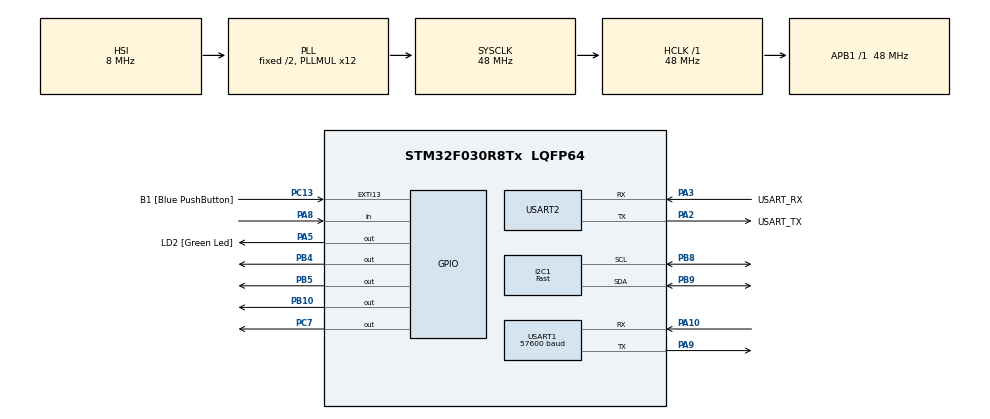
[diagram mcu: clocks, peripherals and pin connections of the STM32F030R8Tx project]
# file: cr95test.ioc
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Mcu.Family=STM32F0
PA2.GPIO_PuPd=GPIO_NOPULL
I2C1.I2C_Speed_Mode=I2C_Fast
USART1.BaudRate=57600
PA14.GPIO_Label=TCK
PA3.GPIO_PuPd=GPIO_NOPULL
PA2.GPIO_Speed=GPIO_SPEED_FREQ_LOW
PC13.GPIO_Label=B1 [Blue PushButton]
PA3.GPIO_Speed=GPIO_SPEED_FREQ_LOW
Dma.USART2_RX.1.MemDataAlignment=DMA_MDATAALIGN_BYTE
RCC.SYSCLKSource=RCC_SYSCLKSOURCE_PLLCLK
ProjectManager.StackSize=0x400
USART1.StopBits=STOPBITS_2
RCC.HCLKFreq_Value=48000000
PC7.Signal=GPIO_Output
PB5.PinState=GPIO_PIN_RESET
Dma.USART2_RX.1.PeriphInc=DMA_PINC_DISABLE
Dma.USART2_RX.1.MemInc=DMA_MINC_ENABLE
RCC.AHBFreq_Value=48000000
Dma.USART1_RX.0.Priority=DMA_PRIORITY_LOW
USART2.VirtualMode-Asynchronous=VM_ASYNC
RCC.PLLMUL=RCC_PLL_MUL12
PC14-OSC32_IN.Mode=LSE-External-Oscillator
PA14.Mode=Serial_Wire
PA5.GPIO_PuPd=GPIO_NOPULL
PA8.Signal=GPIO_Input
Dma.USART1_RX.0.MemInc=DMA_MINC_ENABLE
Mcu.Package=LQFP64
PB9.Signal=I2C1_SDA
PA2.GPIO_Label=USART_TX
PA10.Signal=USART1_RX
Dma.Request1=USART2_RX
RCC.APB1TimFreq_Value=48000000
Dma.USART1_RX.0.Mode=DMA_CIRCULAR
Dma.USART2_RX.1.Mode=DMA_CIRCULAR
Dma.Request0=USART1_RX
Dma.USART1_RX.0.Instance=DMA1_Channel3
PF1-OSC_OUT.Signal=RCC_OSC_OUT
PB4.Signal=GPIO_Output
PA3.Signal=USART2_RX
PA2.GPIO_Mode=GPIO_MODE_AF_PP
PC15-OSC32_OUT.Mode=LSE-External-Oscillator
Dma.USART2_RX.1.Priority=DMA_PRIORITY_LOW
Dma.USART1_RX.0.PeriphDataAlignment=DMA_PDATAALIGN_BYTE
PA10.Mode=Asynchronous
PC13.Signal=GPXTI13
PC14-OSC32_IN.Signal=RCC_OSC32_IN
USART1.VirtualMode-Asynchronous=VM_ASYNC
PA13.Signal=SYS_SWDIO
PA3.Mode=Asynchronous
PA9.Mode=Asynchronous
ProjectManager.TargetToolchain=STM32CubeIDE
PA3.GPIO_Mode=GPIO_MODE_AF_PP
Dma.USART1_RX.0.Direction=DMA_PERIPH_TO_MEMORY
PB9.Mode=I2C
PA9.Signal=USART1_TX
I2C1.Timing=0x0000020B
PC15-OSC32_OUT.Signal=RCC_OSC32_OUT
Dma.USART1_RX.0.PeriphInc=DMA_PINC_DISABLE
Dma.USART2_RX.1.Instance=DMA1_Channel5
PF0-OSC_IN.Mode=HSE-External-Clock-Source
PB10.Signal=GPIO_Output
Dma.USART2_RX.1.Direction=DMA_PERIPH_TO_MEMORY
PA5.Signal=GPIO_Output
Dma.USART2_RX.1.PeriphDataAlignment=DMA_PDATAALIGN_BYTE
board=NUCLEO-F030R8
NVIC.DMA1_Channel4_5_IRQn=true\:0\:0\:false\:false\:true\:false\:true
Dma.USART1_RX.0.MemDataAlignment=DMA_MDATAALIGN_BYTE
PA13.Mode=Serial_Wire
Mcu.Name=STM32F030R8Tx
PA13.GPIO_Label=TMS
PA2.Signal=USART2_TX
RCC.SYSCLKFreq_VALUE=48000000
PB5.Signal=GPIO_Output
PA5.GPIO_Label=LD2 [Green Led]
PC13.GPIO_ModeDefaultEXTI=GPIO_MODE_IT_FALLING
PA14.Signal=SYS_SWCLK
ProjectManager.HeapSize=0x200
PA8.GPIO_PuPd=GPIO_PULLUP
PA5.GPIO_Speed=GPIO_SPEED_FREQ_LOW
PB8.Mode=I2C
NVIC.DMA1_Channel2_3_IRQn=true\:0\:0\:false\:false\:true\:false\:true
PA2.Mode=Asynchronous
PB8.Signal=I2C1_SCL
PF0-OSC_IN.Signal=RCC_OSC_IN
RCC.APB1Freq_Value=48000000
PA5.GPIO_Mode=GPIO_MODE_OUTPUT_PP
PA3.GPIO_Label=USART_RX

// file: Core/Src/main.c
/* USER CODE BEGIN Header */
/**
  ******************************************************************************
  * @file           : main.c
  * @brief          : Main program body
  ******************************************************************************
  * @attention
  *
  * <h2><center>&copy; Copyright (c) 2020 STMicroelectronics.
  * All rights reserved.</center></h2>
  *
  * This software component is licensed by ST under BSD 3-Clause license,
  * the "License"; You may not use this file except in compliance with the
  * License. You may obtain a copy of the License at:
  *                        opensource.org/licenses/BSD-3-Clause
  *
  ******************************************************************************
  */
/* USER CODE END Header */
#include "main.h"

/* USER CODE BEGIN Includes */
#include <stdlib.h>
#include <stdio.h>
#include <stdbool.h>
#include <string.h>
#include "cr95hf.h"
#include "ssd1306.h"
#include "fonts.h"

/* USER CODE END Includes */

I2C_HandleTypeDef hi2c1;

UART_HandleTypeDef huart1;
UART_HandleTypeDef huart2;
DMA_HandleTypeDef hdma_usart1_rx;
DMA_HandleTypeDef hdma_usart2_rx;

void SystemClock_Config(void);
static void MX_GPIO_Init(void);
static void MX_DMA_Init(void);
static void MX_USART2_UART_Init(void);
static void MX_USART1_UART_Init(void);
static void MX_I2C1_Init(void);

/* USER CODE BEGIN 0 */

void nfc_init(void)
{
	MX_USART1_UART_Init();
}

/* USER CODE END 0 */

int main(void)
{

  /* MCU Configuration--------------------------------------------------------*/

  /* Reset of all peripherals, Initializes the Flash interface and the Systick. */
  HAL_Init();

  /* Configure the system clock */
  SystemClock_Config();

  /* Initialize all configured peripherals */
  MX_GPIO_Init();
  MX_DMA_Init();
  MX_USART2_UART_Init();
  MX_USART1_UART_Init();
  MX_I2C1_Init();
  /* USER CODE BEGIN 2 */
  SSD1306_Init ();
  HAL_UART_DeInit(&huart1);
  uart_init();

  /* USER CODE END 2 */

  /* Infinite loop */
  /* USER CODE BEGIN WHILE */
  while (1)
  {
	  manual_operation();
	  if (HAL_GPIO_ReadPin(GPIOA, GPIO_PIN_8) == 0)
	  {
		  HAL_Delay(50);
		  if (HAL_GPIO_ReadPin(GPIOA, GPIO_PIN_8) == 0)
			  automatic_operation();
	  }

    /* USER CODE END WHILE */

  }
}

void SystemClock_Config(void)
{
  RCC_OscInitTypeDef RCC_OscInitStruct = {0};
  RCC_ClkInitTypeDef RCC_ClkInitStruct = {0};
  RCC_PeriphCLKInitTypeDef PeriphClkInit = {0};

  /** Initializes the RCC Oscillators according to the specified parameters
  * in the RCC_OscInitTypeDef structure.
  */
  RCC_OscInitStruct.OscillatorType = RCC_OSCILLATORTYPE_HSI;
  RCC_OscInitStruct.HSIState = RCC_HSI_ON;
  RCC_OscInitStruct.HSICalibrationValue = RCC_HSICALIBRATION_DEFAULT;
  RCC_OscInitStruct.PLL.PLLState = RCC_PLL_ON;
  RCC_OscInitStruct.PLL.PLLSource = RCC_PLLSOURCE_HSI;
  RCC_OscInitStruct.PLL.PLLMUL = RCC_PLL_MUL12;
  RCC_OscInitStruct.PLL.PREDIV = RCC_PREDIV_DIV1;
  if (HAL_RCC_OscConfig(&RCC_OscInitStruct) != HAL_OK)
  {
    Error_Handler();
  }
  /** Initializes the CPU, AHB and APB buses clocks
  */
  RCC_ClkInitStruct.ClockType = RCC_CLOCKTYPE_HCLK|RCC_CLOCKTYPE_SYSCLK
                              |RCC_CLOCKTYPE_PCLK1;
  RCC_ClkInitStruct.SYSCLKSource = RCC_SYSCLKSOURCE_PLLCLK;
  RCC_ClkInitStruct.AHBCLKDivider = RCC_SYSCLK_DIV1;
  RCC_ClkInitStruct.APB1CLKDivider = RCC_HCLK_DIV1;

  if (HAL_RCC_ClockConfig(&RCC_ClkInitStruct, FLASH_LATENCY_1) != HAL_OK)
  {
    Error_Handler();
  }
  PeriphClkInit.PeriphClockSelection = RCC_PERIPHCLK_USART1|RCC_PERIPHCLK_I2C1;
  PeriphClkInit.Usart1ClockSelection = RCC_USART1CLKSOURCE_PCLK1;
  PeriphClkInit.I2c1ClockSelection = RCC_I2C1CLKSOURCE_HSI;
  if (HAL_RCCEx_PeriphCLKConfig(&PeriphClkInit) != HAL_OK)
  {
    Error_Handler();
  }
}

static void MX_I2C1_Init(void)
{

  hi2c1.Instance = I2C1;
  hi2c1.Init.Timing = 0x0000020B;
  hi2c1.Init.OwnAddress1 = 0;
  hi2c1.Init.AddressingMode = I2C_ADDRESSINGMODE_7BIT;
  hi2c1.Init.DualAddressMode = I2C_DUALADDRESS_DISABLE;
  hi2c1.Init.OwnAddress2 = 0;
  hi2c1.Init.OwnAddress2Masks = I2C_OA2_NOMASK;
  hi2c1.Init.GeneralCallMode = I2C_GENERALCALL_DISABLE;
  hi2c1.Init.NoStretchMode = I2C_NOSTRETCH_DISABLE;
  if (HAL_I2C_Init(&hi2c1) != HAL_OK)
  {
    Error_Handler();
  }
  /** Configure Analogue filter
  */
  if (HAL_I2CEx_ConfigAnalogFilter(&hi2c1, I2C_ANALOGFILTER_ENABLE) != HAL_OK)
  {
    Error_Handler();
  }
  /** Configure Digital filter
  */
  if (HAL_I2CEx_ConfigDigitalFilter(&hi2c1, 0) != HAL_OK)
  {
    Error_Handler();
  }

}

static void MX_USART1_UART_Init(void)
{

  huart1.Instance = USART1;
  huart1.Init.BaudRate = 57600;
  huart1.Init.WordLength = UART_WORDLENGTH_8B;
  huart1.Init.StopBits = UART_STOPBITS_2;
  huart1.Init.Parity = UART_PARITY_NONE;
  huart1.Init.Mode = UART_MODE_TX_RX;
  huart1.Init.HwFlowCtl = UART_HWCONTROL_NONE;
  huart1.Init.OverSampling = UART_OVERSAMPLING_16;
  huart1.Init.OneBitSampling = UART_ONE_BIT_SAMPLE_DISABLE;
  huart1.AdvancedInit.AdvFeatureInit = UART_ADVFEATURE_NO_INIT;
  if (HAL_UART_Init(&huart1) != HAL_OK)
  {
    Error_Handler();
  }

}

static void MX_USART2_UART_Init(void)
{

  huart2.Instance = USART2;
  huart2.Init.BaudRate = 38400;
  huart2.Init.WordLength = UART_WORDLENGTH_8B;
  huart2.Init.StopBits = UART_STOPBITS_1;
  huart2.Init.Parity = UART_PARITY_NONE;
  huart2.Init.Mode = UART_MODE_TX_RX;
  huart2.Init.HwFlowCtl = UART_HWCONTROL_NONE;
  huart2.Init.OverSampling = UART_OVERSAMPLING_16;
  huart2.Init.OneBitSampling = UART_ONE_BIT_SAMPLE_DISABLE;
  huart2.AdvancedInit.AdvFeatureInit = UART_ADVFEATURE_NO_INIT;
  if (HAL_UART_Init(&huart2) != HAL_OK)
  {
    Error_Handler();
  }

}

static void MX_DMA_Init(void)
{

  /* DMA controller clock enable */
  __HAL_RCC_DMA1_CLK_ENABLE();

  /* DMA interrupt init */
  /* DMA1_Channel2_3_IRQn interrupt configuration */
  HAL_NVIC_SetPriority(DMA1_Channel2_3_IRQn, 0, 0);
  HAL_NVIC_EnableIRQ(DMA1_Channel2_3_IRQn);
  /* DMA1_Channel4_5_IRQn interrupt configuration */
  HAL_NVIC_SetPriority(DMA1_Channel4_5_IRQn, 0, 0);
  HAL_NVIC_EnableIRQ(DMA1_Channel4_5_IRQn);

}

static void MX_GPIO_Init(void)
{
  GPIO_InitTypeDef GPIO_InitStruct = {0};

  /* GPIO Ports Clock Enable */
  __HAL_RCC_GPIOC_CLK_ENABLE();
  __HAL_RCC_GPIOF_CLK_ENABLE();
  __HAL_RCC_GPIOA_CLK_ENABLE();
  __HAL_RCC_GPIOB_CLK_ENABLE();

  /*Configure GPIO pin Output Level */
  HAL_GPIO_WritePin(LD2_GPIO_Port, LD2_Pin, GPIO_PIN_RESET);

  /*Configure GPIO pin Output Level */
  HAL_GPIO_WritePin(GPIOB, GPIO_PIN_10|GPIO_PIN_4|GPIO_PIN_5, GPIO_PIN_RESET);

  /*Configure GPIO pin Output Level */
  HAL_GPIO_WritePin(GPIOC, GPIO_PIN_7, GPIO_PIN_RESET);

  /*Configure GPIO pin : B1_Pin */
  GPIO_InitStruct.Pin = B1_Pin;
  GPIO_InitStruct.Mode = GPIO_MODE_IT_FALLING;
  GPIO_InitStruct.Pull = GPIO_NOPULL;
  HAL_GPIO_Init(B1_GPIO_Port, &GPIO_InitStruct);

  /*Configure GPIO pin : LD2_Pin */
  GPIO_InitStruct.Pin = LD2_Pin;
  GPIO_InitStruct.Mode = GPIO_MODE_OUTPUT_PP;
  GPIO_InitStruct.Pull = GPIO_NOPULL;
  GPIO_InitStruct.Speed = GPIO_SPEED_FREQ_LOW;
  HAL_GPIO_Init(LD2_GPIO_Port, &GPIO_InitStruct);

  /*Configure GPIO pins : PB10 PB4 PB5 */
  GPIO_InitStruct.Pin = GPIO_PIN_10|GPIO_PIN_4|GPIO_PIN_5;
  GPIO_InitStruct.Mode = GPIO_MODE_OUTPUT_PP;
  GPIO_InitStruct.Pull = GPIO_NOPULL;
  GPIO_InitStruct.Speed = GPIO_SPEED_FREQ_LOW;
  HAL_GPIO_Init(GPIOB, &GPIO_InitStruct);

  /*Configure GPIO pin : PC7 */
  GPIO_InitStruct.Pin = GPIO_PIN_7;
  GPIO_InitStruct.Mode = GPIO_MODE_OUTPUT_PP;
  GPIO_InitStruct.Pull = GPIO_NOPULL;
  GPIO_InitStruct.Speed = GPIO_SPEED_FREQ_LOW;
  HAL_GPIO_Init(GPIOC, &GPIO_InitStruct);

  /*Configure GPIO pin : PA8 */
  GPIO_InitStruct.Pin = GPIO_PIN_8;
  GPIO_InitStruct.Mode = GPIO_MODE_INPUT;
  GPIO_InitStruct.Pull = GPIO_PULLUP;
  HAL_GPIO_Init(GPIOA, &GPIO_InitStruct);

}

void Error_Handler(void)
{
}

/************************ (C) COPYRIGHT STMicroelectronics *****END OF FILE****/
